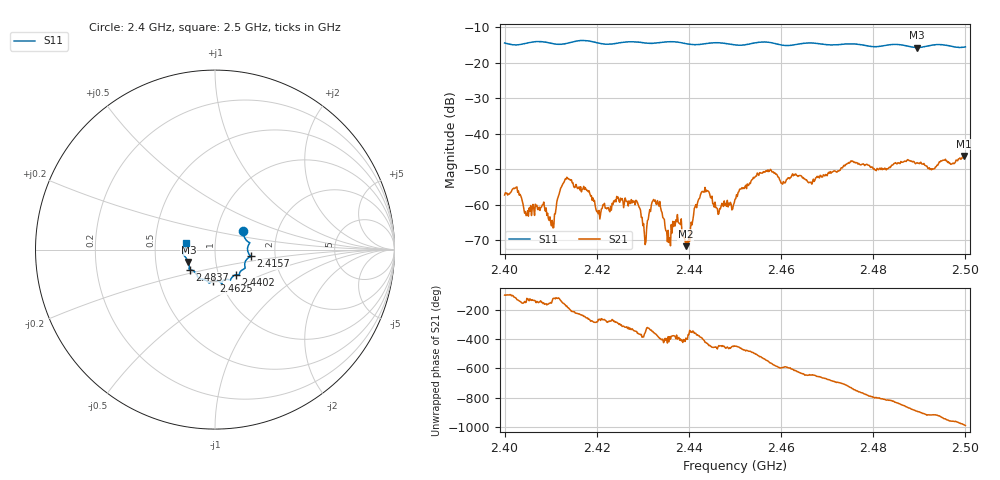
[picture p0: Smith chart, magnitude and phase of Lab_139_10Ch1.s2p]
# Hz S RI R 50
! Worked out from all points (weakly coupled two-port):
!   601 points, 2.4 GHz to 2.5 GHz, reference 50 ohm
!   highest |S21| = -46.25 dB at 2.4997 GHz (marker M1); lowest = -71.6 dB at 2.4393 GHz (marker M2)
!   lowest |S11| = -15.7 dB at 2.4895 GHz (marker M3), VSWR 1.39, Z = 36.8 - j5.18 ohm
!   |S11| at or under -10 dB: start of sweep to end of sweep
!   S12 and S22 are empty: the file has one direction only
!   S11 on the Smith chart (normalised r, x): 2.4 GHz: 1.34, +0.29; 2.4157 GHz: 1.49, -0.11; 2.4402 GHz: 1.20, -0.35; 2.4625 GHz: 0.92, -0.34; 2.4837 GHz: 0.74, -0.17; 2.5 GHz: 0.72, +0.05
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2.4e9  0.1568 0.1057  -0.000267 -0.00135  0 0  0 0
2.410167e9  0.1856 0.0236  -0.000463 -0.000208  0 0  0 0
2.413e9  0.1836 -0.0123  -0.00208 -0.000609  0 0  0 0
2.415667e9  0.1985 -0.0365  -0.00126 0.00128  0 0  0 0
2.416667e9  0.2013 -0.0401  -0.000865 0.00126  0 0  0 0
2.420333e9  0.1829 -0.0483  -4.16e-05 0.000751  0 0  0 0
2.428333e9  0.1664 -0.1039  0.000975 0.000238  0 0  0 0
2.4305e9  0.1511 -0.1136  0.000277 1.04e-05  0 0  0 0
2.433333e9  0.136 -0.1333  0.000943 -0.000446  0 0  0 0
2.4355e9  0.1347 -0.1432  0.000402 -0.000178  0 0  0 0
2.437833e9  0.131 -0.142  0.000485 -0.000271  0 0  0 0
2.439333e9  0.1215 -0.1397  0.000219 -0.000145  0 0  0 0
2.440167e9  0.1145 -0.1407  0.000292 0.000103  0 0  0 0
2.443e9  0.0929 -0.1574  0.00119 -0.00099  0 0  0 0
2.45e9  0.0641 -0.166  2.27e-05 -0.0012  0 0  0 0
2.4625e9  -0.00987 -0.1765  -0.00114 0.00248  0 0  0 0
2.466667e9  -0.0332 -0.1863  0.000517 0.00189  0 0  0 0
2.483333e9  -0.1382 -0.1121  -0.000376 -0.00327  0 0  0 0
2.483667e9  -0.1401 -0.1117  -0.000427 -0.00332  0 0  0 0
2.4895e9  -0.1483 -0.0685  -0.00387 -0.000672  0 0  0 0
2.499667e9  -0.1623 0.0307  -0.000616 0.00483  0 0  0 0
2.5e9  -0.163 0.0362  -0.000224 0.00481  0 0  0 0
